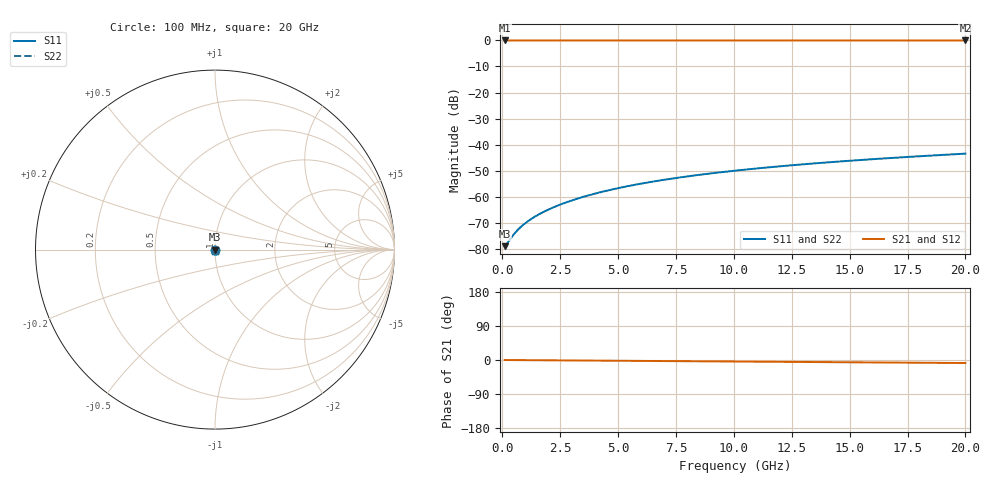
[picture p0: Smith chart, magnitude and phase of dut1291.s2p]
! Touchstone file exported from HFSS 2026.1.0
!  File:  C:/ffzhzh/LocalFiles/Ansys_Project_Files/temp_train_TSV_1291_1783194528_18472.aedt
!  Generated:  03:50:16 AM Jul  5, 2026
!  Design:  TSV
!  Project:  temp_train_TSV_1291_1783194528_18472
! Variables:
!  h_bsmrdl = 2um
!  h_ox = 20um
!  h_rdl = 5um
!  h_sub = 80.76um
!  h_tmrdl = 5um
!  h_tsv = 80.76um
!  h_via = 3um
!  l_bsmrdl = 300um
!  l_sub = 422.12um
!  l_tmrdl = 200um
!  m_sub = 200um
!  pitch = 42.41um
!  r_tsv = 11.06um
!  s_tmrdl = 10um
!  w_bsmrdl = 18um
!  w_sub = 500um
!  w_tmrdl = 12um
!  x_tsv_center1 = 206um
!  x_tsv_center2 = 524um
!  x_tsv_center3 = 736um
!  x_tsv_center4 = 1054um
!  x_tsv_center5 = 1266um
!  x_tsv_center6 = 1584um
# GHz S MA R 50.000000
! Terminal data exported
! Port[1] = TSV1_1_T1
! Port[2] = TSV1_1_T2
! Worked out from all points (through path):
!   200 points, 100 MHz to 20 GHz, reference 50 ohm
!   highest |S21| = 0.00 dB at 100 MHz (marker M1); lowest = 0.0 dB at 20 GHz (marker M2)
!   group delay of S21, straight-line fit = 1.11 ps
!   lowest |S11| = -79.0 dB at 100 MHz (marker M3), VSWR 1.00, Z = 50 + j0.00105 ohm
!   |S11| at or under -10 dB: start of sweep to end of sweep
!   |S22| runs from -79.0 to -43.5 dB; largest |S21 - S12| = 2.3e-15
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0.1  0.0001122 5.4  0.9999 -0.0  0.9999 -0.0  0.0001122 5.4
! Gamma 0 0 0 0
! Port Impedance 50 0 50 0
0.2  0.0001256 8.2  0.9999 -0.1  0.9999 -0.1  0.0001256 8.2
0.5  0.0001898 1.8  0.9998 -0.2  0.9998 -0.2  0.0001898 1.8
0.7  0.0002382 -7.2  0.9998 -0.3  0.9998 -0.3  0.0002382 -7.2
0.8  0.0002626 -11.7  0.9997 -0.3  0.9997 -0.3  0.0002626 -11.7
1  0.0003118 -20.0  0.9997 -0.4  0.9997 -0.4  0.0003118 -20.0
1.3  0.0003866 -30.1  0.9997 -0.5  0.9997 -0.5  0.0003866 -30.1
1.5  0.0004374 -35.5  0.9996 -0.6  0.9996 -0.6  0.0004374 -35.5
1.8  0.0005154 -42.0  0.9996 -0.7  0.9996 -0.7  0.0005154 -42.0
2.3  0.0006498 -49.8  0.9996 -0.9  0.9996 -0.9  0.0006498 -49.8
2.9  0.0008183 -56.1  0.9995 -1.2  0.9995 -1.2  0.0008183 -56.1
3.5  0.0009939 -60.4  0.9995 -1.4  0.9995 -1.4  0.000994 -60.4
4.2  0.001207 -64.0  0.9994 -1.7  0.9994 -1.7  0.001207 -64.0
5  0.001459 -67.2  0.9994 -2.0  0.9994 -2.0  0.001459 -67.2
5.9  0.001751 -69.9  0.9993 -2.4  0.9993 -2.4  0.001751 -69.9
6.8  0.002049 -72.2  0.9993 -2.7  0.9993 -2.7  0.002049 -72.2
8.3  0.002557 -75.2  0.9992 -3.3  0.9992 -3.3  0.002557 -75.2
10.1  0.003177 -78.0  0.9991 -4.1  0.9991 -4.1  0.003177 -78.0
11.7  0.003734 -80.1  0.9991 -4.7  0.9991 -4.7  0.003734 -80.1
13.4  0.004331 -82.0  0.999 -5.4  0.999 -5.4  0.004331 -81.9
16.7  0.005506 -84.9  0.9989 -6.7  0.9989 -6.7  0.005506 -84.9
20  0.006707 -87.3  0.9987 -8.0  0.9987 -8.0  0.006707 -87.3
